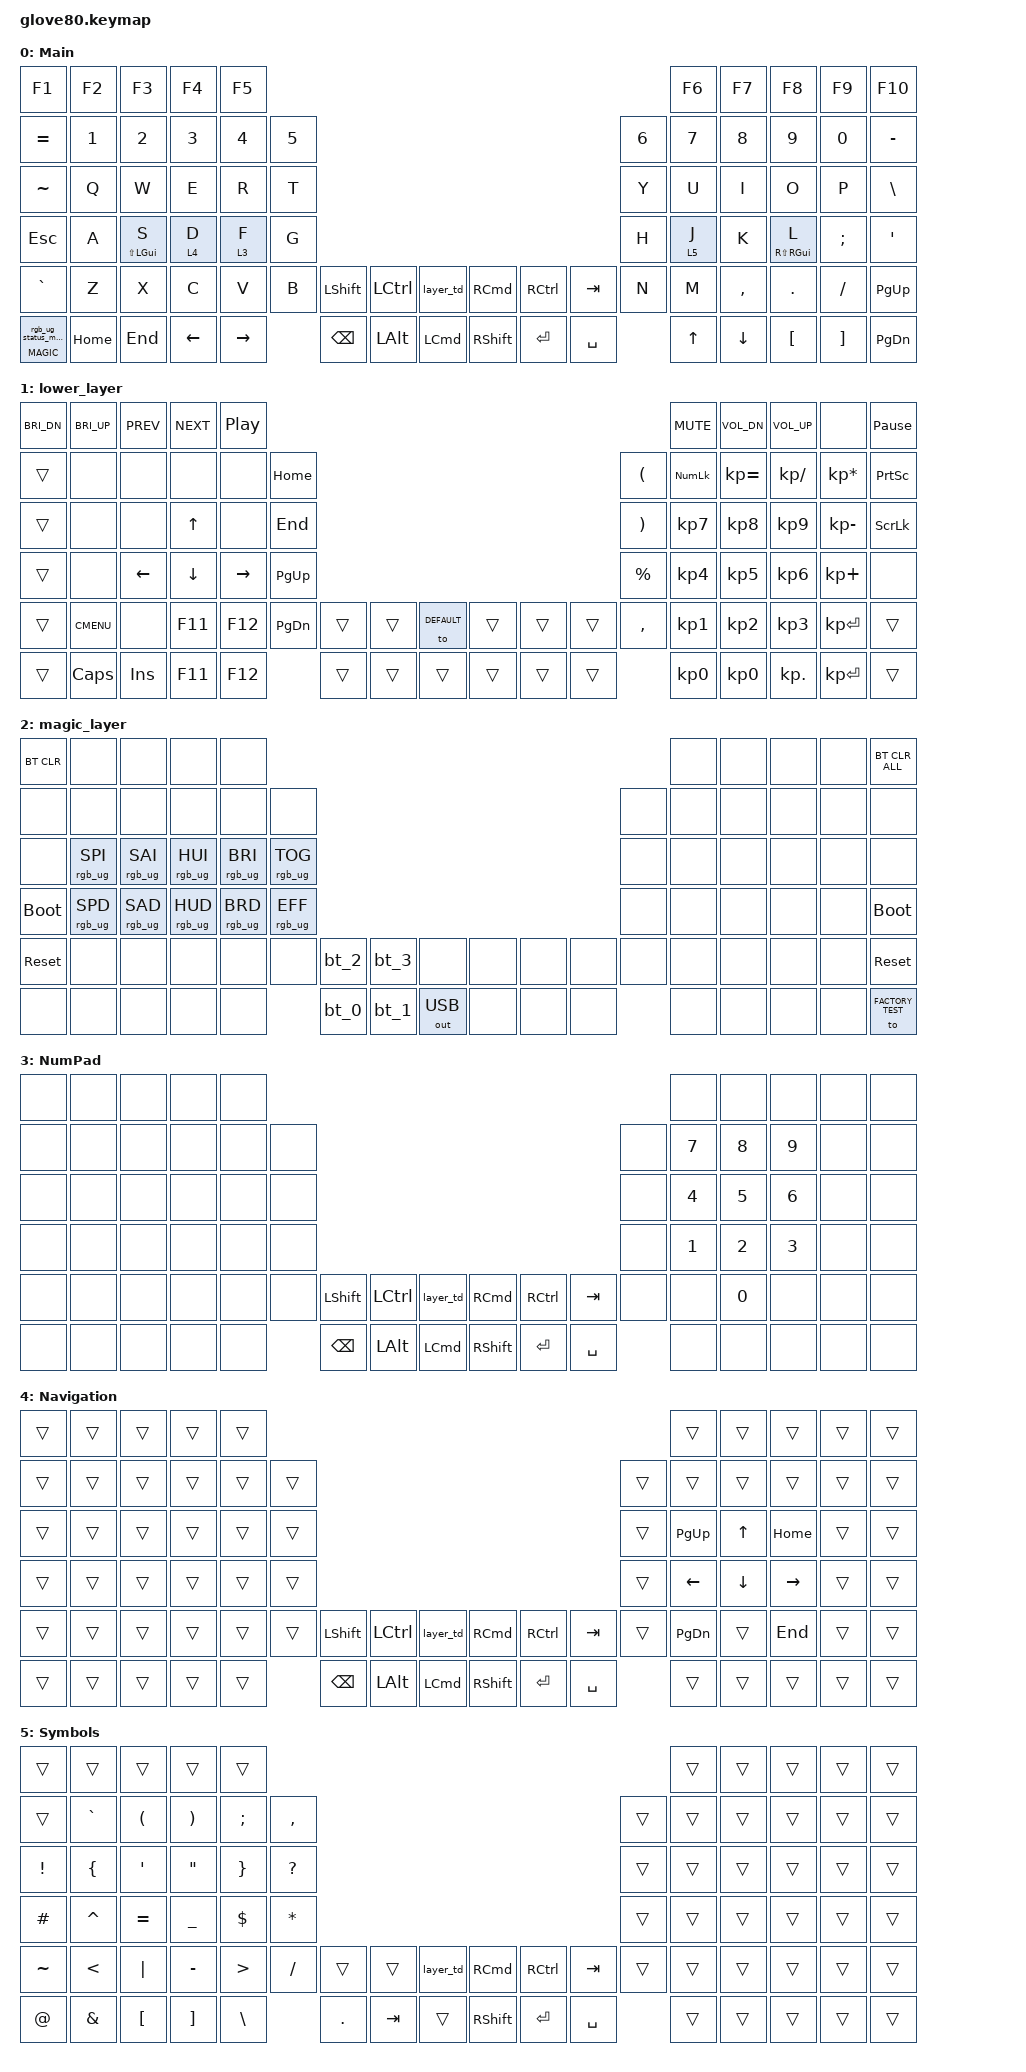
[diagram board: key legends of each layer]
/*
 * Copyright (c) 2020 The ZMK Contributors
 *
 * SPDX-License-Identifier: MIT
 */

#include <behaviors.dtsi>
#include <dt-bindings/zmk/bt.h>
#include <dt-bindings/zmk/keys.h>
#include <dt-bindings/zmk/outputs.h>
#include <dt-bindings/zmk/rgb.h>

#define HYPER LC(LS(LG(LALT)))

// layers

#define DEFAULT 0
#define LOWER 1
#define MAGIC 2
#define FACTORY_TEST 3

/ {
    behaviors {
        // For the "layer" key, it'd nice to be able to use it as either a shift or a toggle.
        // Configure it as a tap dance, so the first tap (or hold) is a &mo and the second tap is a &to

        layer_td: tap_dance_0 {
            compatible = "zmk,behavior-tap-dance";
            label = "LAYER_TAP_DANCE";
            #binding-cells = <0>;
            tapping-term-ms = <200>;
            bindings = <&mo LOWER>, <&to LOWER>;
        };

        magic: magic_hold_tap {
            compatible = "zmk,behavior-hold-tap";
            label = "MAGIC_HOLD_TAP";
            #binding-cells = <2>;
            flavor = "tap-preferred";
            tapping-term-ms = <200>;
            bindings = <&mo>, <&rgb_ug_status_macro>;
        };

        hm: hm {
            compatible = "zmk,behavior-hold-tap";
            label = "HM";
            bindings = <&kp>, <&kp>;

            #binding-cells = <2>;
            tapping-term-ms = <400>;
            quick-tap-ms = <400>;
            require-prior-idle-ms = <400>;
            flavor = "tap-preferred";
        };
    };

    macros {
        rgb_ug_status_macro: rgb_ug_status_macro_0 {
            label = "RGB_UG_STATUS";
            compatible = "zmk,behavior-macro";
            #binding-cells = <0>;
            bindings = <&rgb_ug RGB_STATUS>;
        };

        bt_0: bt_profile_macro_0 {
            label = "BT_0";
            compatible = "zmk,behavior-macro";
            #binding-cells = <0>;
            bindings = <&out OUT_BLE &bt BT_SEL 0>;
        };

        bt_1: bt_profile_macro_1 {
            label = "BT_1";
            compatible = "zmk,behavior-macro";
            #binding-cells = <0>;
            bindings = <&out OUT_BLE &bt BT_SEL 1>;
        };

        bt_2: bt_profile_macro_2 {
            label = "BT_2";
            compatible = "zmk,behavior-macro";
            #binding-cells = <0>;
            bindings = <&out OUT_BLE &bt BT_SEL 2>;
        };

        bt_3: bt_profile_macro_3 {
            label = "BT_3";
            compatible = "zmk,behavior-macro";
            #binding-cells = <0>;
            bindings = <&out OUT_BLE &bt BT_SEL 3>;
        };
    };

    keymap {
        compatible = "zmk,keymap";

        Main {
            // ---------------------------------------------------------------------------------------------------------------------------------
            // |  F1   |  F2 |  F3 |  F4  |  F5  |                                                               |  F6   |  F7   |  F8  |   F9  |  F10 |
            // |  =    |  1  |  2  |  3   |  4   |  5   |                                                 |  6   |   7   |   8   |  9   |   0   |   -  |
            // |  TAB  |  Q  |  W  |  E   |  R   |  T   |                                                 |  Y   |   U   |   I   |  O   |   P   |   \  |
            // |  ESC  |  A  |  S  |  D   |  F   |  G   |                                                 |  H   |   J   |   K   |  L   |   ;   |   '  |
            // |   `   |  Z  |  X  |  C   |  V   |  B   | LSHFT | LCTRL | LOWER | | LGUI  | RCTRL | RSHFT |  N   |   M   |   ,   |  .   |   /   | PGUP |
            // | MAGIC | HOME| END | LEFT | RIGHT|      | BSPC  | DEL   | LALT  | | RALT  | RET   | SPACE |      |  UP   | DOWN  |  [   |   ]   | PGDN |

            bindings = <
&kp F1          &kp F2    &kp F3              &kp F4    &kp F5                                                                                                         &kp F6   &kp F7     &kp F8               &kp F9    &kp F10
&kp EQUAL       &kp N1    &kp N2              &kp N3    &kp N4     &kp N5                                                                                      &kp N6  &kp N7   &kp N8     &kp N9               &kp N0    &kp MINUS
&kp TILDE       &kp Q     &kp W               &kp E     &kp R      &kp T                                                                                       &kp Y   &kp U    &kp I      &kp O                &kp P     &kp BSLH
&kp ESC         &kp A     &hm LS(LEFT_GUI) S  &lt 4 D   &lt 3 F    &kp G                                                                                       &kp H   &lt 5 J  &kp K      &hm RS(RIGHT_GUI) L  &kp SEMI  &kp SQT
&kp GRAVE       &kp Z     &kp X               &kp C     &kp V      &kp B   &kp LSHFT  &kp LCTRL     &layer_td         &kp RIGHT_COMMAND  &kp RCTRL  &kp TAB    &kp N   &kp M    &kp COMMA  &kp DOT              &kp FSLH  &kp PG_UP
&magic MAGIC 0  &kp HOME  &kp END             &kp LEFT  &kp RIGHT          &kp BSPC   &kp LEFT_ALT  &kp LEFT_COMMAND  &kp RIGHT_SHIFT    &kp RET    &kp SPACE          &kp UP   &kp DOWN   &kp LBKT             &kp RBKT  &kp PG_DN
            >;
        };

        lower_layer {
            bindings = <
&kp C_BRI_DN  &kp C_BRI_UP  &kp C_PREV  &kp C_NEXT  &kp C_PP                                                                              &kp C_MUTE  &kp C_VOL_DN  &kp C_VOL_UP   &none            &kp PAUSE_BREAK
&trans        &none         &none       &none       &none      &kp HOME                                                        &kp LPAR   &kp KP_NUM  &kp KP_EQUAL  &kp KP_DIVIDE  &kp KP_MULTIPLY  &kp PSCRN
&trans        &none         &none       &kp UP      &none      &kp END                                                         &kp RPAR   &kp KP_N7   &kp KP_N8     &kp KP_N9      &kp KP_MINUS     &kp SLCK
&trans        &none         &kp LEFT    &kp DOWN    &kp RIGHT  &kp PG_UP                                                       &kp PRCNT  &kp KP_N4   &kp KP_N5     &kp KP_N6      &kp KP_PLUS      &none
&trans        &kp K_CMENU   &none       &kp F11     &kp F12    &kp PG_DN  &trans  &trans  &to DEFAULT  &trans  &trans  &trans  &kp COMMA  &kp KP_N1   &kp KP_N2     &kp KP_N3      &kp KP_ENTER     &trans
&trans        &kp CAPS      &kp INS     &kp F11     &kp F12               &trans  &trans  &trans       &trans  &trans  &trans             &kp KP_N0   &kp KP_N0     &kp KP_DOT     &kp KP_ENTER     &trans
            >;
        };

        magic_layer {
            bindings = <
&bt BT_CLR   &none            &none            &none            &none                                                                                     &none  &none  &none  &none  &bt BT_CLR_ALL
&none        &none            &none            &none            &none            &none                                                             &none  &none  &none  &none  &none  &none
&none        &rgb_ug RGB_SPI  &rgb_ug RGB_SAI  &rgb_ug RGB_HUI  &rgb_ug RGB_BRI  &rgb_ug RGB_TOG                                                   &none  &none  &none  &none  &none  &none
&bootloader  &rgb_ug RGB_SPD  &rgb_ug RGB_SAD  &rgb_ug RGB_HUD  &rgb_ug RGB_BRD  &rgb_ug RGB_EFF                                                   &none  &none  &none  &none  &none  &bootloader
&sys_reset   &none            &none            &none            &none            &none            &bt_2  &bt_3  &none         &none  &none  &none  &none  &none  &none  &none  &none  &sys_reset
&none        &none            &none            &none            &none                             &bt_0  &bt_1  &out OUT_USB  &none  &none  &none         &none  &none  &none  &none  &to FACTORY_TEST
            >;
        };

        NumPad {
            bindings = <
&none  &none  &none  &none  &none                                                                                                                     &none         &none         &none         &none  &none
&none  &none  &none  &none  &none  &none                                                                                                       &none  &kp NUMBER_7  &kp NUMBER_8  &kp NUMBER_9  &none  &none
&none  &none  &none  &none  &none  &none                                                                                                       &none  &kp NUMBER_4  &kp NUMBER_5  &kp NUMBER_6  &none  &none
&none  &none  &none  &none  &none  &none                                                                                                       &none  &kp NUMBER_1  &kp NUMBER_2  &kp NUMBER_3  &none  &none
&none  &none  &none  &none  &none  &none  &kp LEFT_SHIFT  &kp LEFT_CONTROL  &layer_td         &kp RIGHT_COMMAND  &kp RIGHT_CONTROL  &kp TAB    &none  &none         &kp NUMBER_0  &none         &none  &none
&none  &none  &none  &none  &none         &kp BACKSPACE   &kp LEFT_ALT      &kp LEFT_COMMAND  &kp RIGHT_SHIFT    &kp RETURN         &kp SPACE         &none         &none         &none         &none  &none
            >;
        };

        Navigation {
            bindings = <
&trans  &trans  &trans  &trans  &trans                                                                                                                       &trans          &trans          &trans           &trans  &trans
&trans  &trans  &trans  &trans  &trans  &trans                                                                                                       &trans  &trans          &trans          &trans           &trans  &trans
&trans  &trans  &trans  &trans  &trans  &trans                                                                                                       &trans  &kp PAGE_UP     &kp UP_ARROW    &kp HOME         &trans  &trans
&trans  &trans  &trans  &trans  &trans  &trans                                                                                                       &trans  &kp LEFT_ARROW  &kp DOWN_ARROW  &kp RIGHT_ARROW  &trans  &trans
&trans  &trans  &trans  &trans  &trans  &trans  &kp LEFT_SHIFT  &kp LEFT_CONTROL  &layer_td         &kp RIGHT_COMMAND  &kp RIGHT_CONTROL  &kp TAB    &trans  &kp PAGE_DOWN   &trans          &kp END          &trans  &trans
&trans  &trans  &trans  &trans  &trans          &kp BACKSPACE   &kp LEFT_ALT      &kp LEFT_COMMAND  &kp RIGHT_SHIFT    &kp ENTER          &kp SPACE          &trans          &trans          &trans           &trans  &trans
            >;
        };

        Symbols {
            bindings = <
&trans           &trans          &trans                &trans                 &trans                                                                                                                   &trans  &trans  &trans  &trans  &trans
&trans           &kp GRAVE       &kp LEFT_PARENTHESIS  &kp RIGHT_PARENTHESIS  &kp SEMI          &kp COMMA                                                                                      &trans  &trans  &trans  &trans  &trans  &trans
&kp EXCLAMATION  &kp LEFT_BRACE  &kp SINGLE_QUOTE      &kp DOUBLE_QUOTES      &kp RIGHT_BRACE   &kp QUESTION                                                                                   &trans  &trans  &trans  &trans  &trans  &trans
&kp HASH         &kp CARET       &kp EQUAL             &kp UNDER              &kp DOLLAR        &kp STAR                                                                                       &trans  &trans  &trans  &trans  &trans  &trans
&kp TILDE        &kp LESS_THAN   &kp PIPE              &kp MINUS              &kp GREATER_THAN  &kp SLASH     &trans      &trans   &layer_td  &kp RIGHT_COMMAND  &kp RIGHT_CONTROL  &kp TAB    &trans  &trans  &trans  &trans  &trans  &trans
&kp AT           &kp AMPERSAND   &kp LEFT_BRACKET      &kp RIGHT_BRACKET      &kp BACKSLASH                   &kp PERIOD  &kp TAB  &trans     &kp RIGHT_SHIFT    &kp ENTER          &kp SPACE          &trans  &trans  &trans  &trans  &trans
            >;
        };
    };
};
